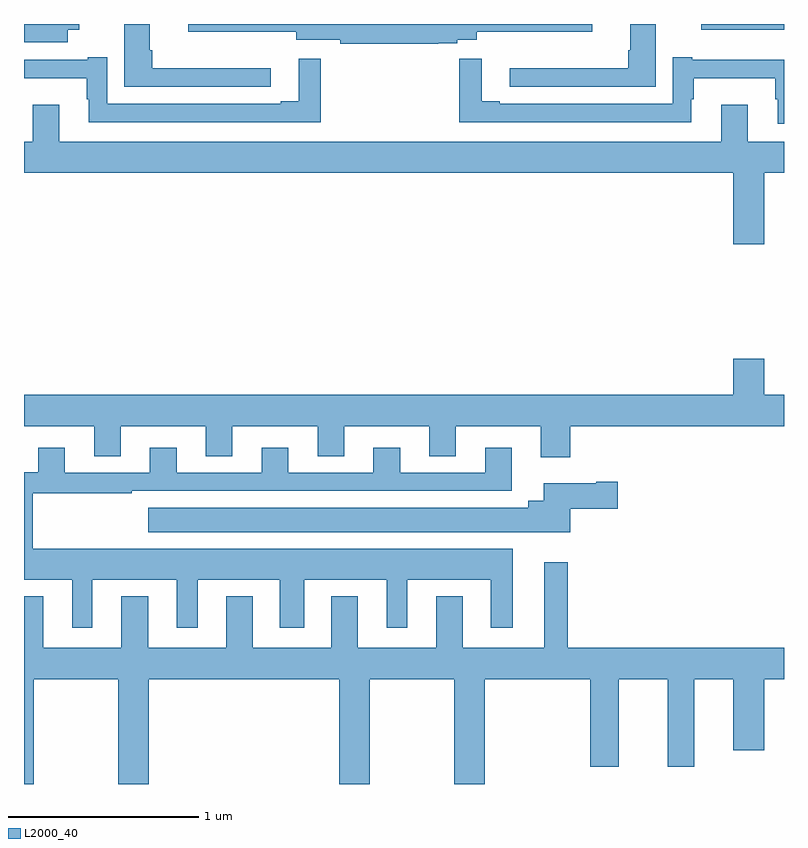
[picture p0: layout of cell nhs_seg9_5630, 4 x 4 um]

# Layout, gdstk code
import gdstk
lib = gdstk.Library(unit=1e-6, precision=1e-09)
def R(c, l, rs):  # rectangles x0, y0, x1, y1
    for r in rs: c.add(gdstk.rectangle(r[:2], r[2:], *l))
def P(c, l, *ps):  # polygons
    for p in ps: c.add(gdstk.Polygon(p, *l))
L2000_40 = (2000, 40)

nhs_seg9_5630 = lib.new_cell('nhs_seg9_5630')
R(nhs_seg9_5630, L2000_40, [(440.565,1234.469,441,1234.5)])
P(nhs_seg9_5630, L2000_40, [(439.18,1234.398),(439.28,1234.398),(439.28,1234.416),(439.383,1234.416),(439.383,1234.46),(439.99,1234.46),(439.99,1234.5),(437.865,1234.5),(437.865,1234.46),(438.434,1234.46),(438.434,1234.416),(438.664,1234.416),(438.664,1234.396),(439.18,1234.396)],
  [(438.298,1234.268),(437.675,1234.268),(437.675,1234.363),(437.662,1234.363),(437.662,1234.5),(437.528,1234.5),(437.528,1234.17),(438.298,1234.17)],
  [(437.23,1234.469),(437.29,1234.469),(437.29,1234.5),(437,1234.5),(437,1234.403),(437.23,1234.403)],
  [(440.326,1234.5),(440.192,1234.5),(440.192,1234.363),(440.18,1234.363),(440.18,1234.268),(439.557,1234.268),(439.557,1234.17),(440.326,1234.17)],
  [(438.563,1234.318),(438.446,1234.318),(438.446,1234.093),(438.35,1234.093),(438.35,1234.08),(437.439,1234.08),(437.439,1234.324),(437.336,1234.324),(437.336,1234.311),(437,1234.311),(437,1234.214),(437.331,1234.214),(437.331,1234.103),(437.342,1234.103),(437.342,1233.984),(438.563,1233.984)],
  [(441,1234.312),(440.518,1234.312),(440.518,1234.324),(440.415,1234.324),(440.415,1234.08),(439.504,1234.08),(439.504,1234.093),(439.408,1234.093),(439.408,1234.318),(439.292,1234.318),(439.292,1234.205),(439.291,1234.205),(439.291,1233.984),(440.512,1233.984),(440.512,1234.103),(440.524,1234.103),(440.524,1234.214),(440.955,1234.214),(440.955,1234.103),(440.966,1234.103),(440.966,1233.975),(441,1233.975)],
  [(440.896,1233.716),(441,1233.716),(441,1233.88),(440.809,1233.88),(440.809,1234.075),(440.669,1234.075),(440.669,1233.88),(437.185,1233.88),(437.185,1234.075),(437.045,1234.075),(437.045,1233.88),(437,1233.88),(437,1233.716),(440.732,1233.716),(440.732,1233.342),(440.896,1233.342)],
  [(439.874,1232.384),(441,1232.384),(441,1232.548),(440.896,1232.548),(440.896,1232.737),(440.732,1232.737),(440.732,1232.548),(437,1232.548),(437,1232.384),(437.369,1232.384),(437.369,1232.224),(437.509,1232.224),(437.509,1232.384),(437.957,1232.384),(437.957,1232.224),(438.097,1232.224),(438.097,1232.384),(438.545,1232.384),(438.545,1232.224),(438.685,1232.224),(438.685,1232.384),(439.133,1232.384),(439.133,1232.224),(439.273,1232.224),(439.273,1232.384),(439.721,1232.384),(439.721,1232.22),(439.874,1232.22)],
  [(437.359,1231.574),(437.804,1231.574),(437.804,1231.323),(437.914,1231.323),(437.914,1231.574),(438.347,1231.574),(438.347,1231.323),(438.475,1231.323),(438.475,1231.574),(438.908,1231.574),(438.908,1231.323),(439.018,1231.323),(439.018,1231.574),(439.457,1231.574),(439.457,1231.323),(439.573,1231.323),(439.573,1231.738),(437.047,1231.738),(437.047,1232.031),(437.567,1232.031),(437.567,1232.043),(439.567,1232.043),(439.567,1232.269),(439.427,1232.269),(439.427,1232.139),(438.979,1232.139),(438.979,1232.269),(438.839,1232.269),(438.839,1232.139),(438.391,1232.139),(438.391,1232.269),(438.251,1232.269),(438.251,1232.139),(437.803,1232.139),(437.803,1232.269),(437.663,1232.269),(437.663,1232.139),(437.215,1232.139),(437.215,1232.269),(437.075,1232.269),(437.075,1232.14),(437,1232.14),(437,1231.574),(437.255,1231.574),(437.255,1231.323),(437.359,1231.323)],
  [(439.876,1231.949),(440.125,1231.949),(440.125,1232.091),(440.012,1232.091),(440.012,1232.083),(439.736,1232.083),(439.736,1231.99),(439.655,1231.99),(439.655,1231.954),(437.655,1231.954),(437.655,1231.826),(439.876,1231.826)],
  [(439.979,1230.591),(440.131,1230.591),(440.131,1231.052),(440.387,1231.052),(440.387,1230.591),(440.527,1230.591),(440.527,1231.052),(440.732,1231.052),(440.732,1230.678),(440.896,1230.678),(440.896,1231.052),(441,1231.052),(441,1231.216),(439.861,1231.216),(439.861,1231.666),(439.739,1231.666),(439.739,1231.216),(439.309,1231.216),(439.309,1231.489),(439.169,1231.489),(439.169,1231.216),(438.757,1231.216),(438.757,1231.489),(438.617,1231.489),(438.617,1231.216),(438.205,1231.216),(438.205,1231.489),(438.065,1231.489),(438.065,1231.216),(437.653,1231.216),(437.653,1231.489),(437.513,1231.489),(437.513,1231.216),(437.101,1231.216),(437.101,1231.489),(437,1231.489),(437,1230.5),(437.052,1230.5),(437.052,1231.052),(437.497,1231.052),(437.497,1230.5),(437.657,1230.5),(437.657,1231.052),(438.659,1231.052),(438.659,1230.5),(438.819,1230.5),(438.819,1231.052),(439.264,1231.052),(439.264,1230.5),(439.424,1230.5),(439.424,1231.052),(439.979,1231.052)])

lib.write_gds('nhs_seg9_5630.gds')
